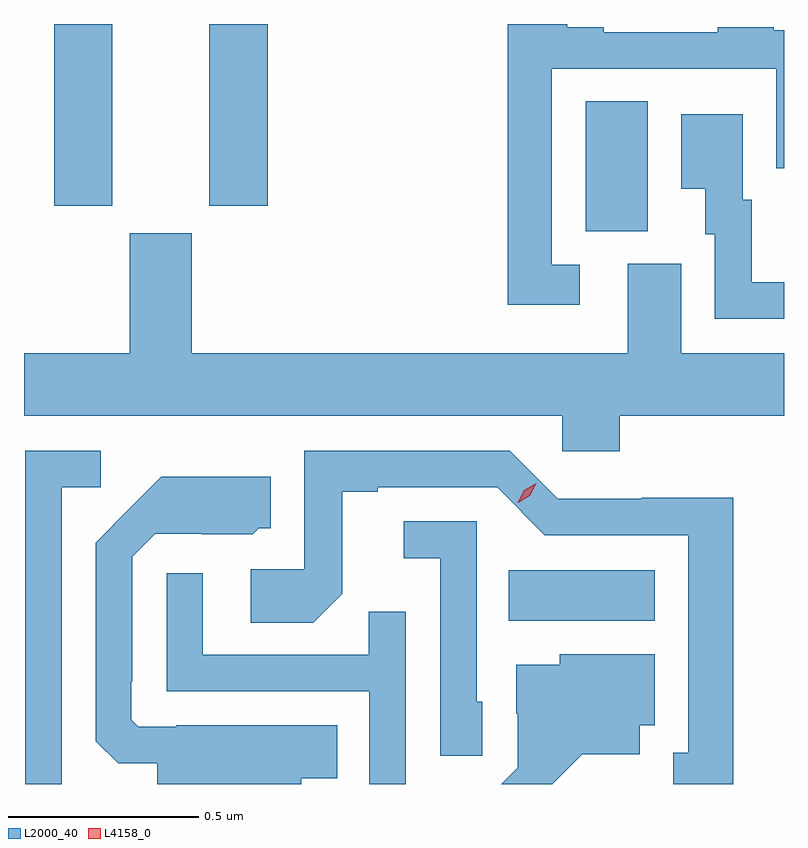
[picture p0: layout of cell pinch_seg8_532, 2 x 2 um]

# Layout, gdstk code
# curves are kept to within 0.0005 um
import gdstk
lib = gdstk.Library(unit=1e-6, precision=1e-09)
def R(c, l, rs):  # rectangles x0, y0, x1, y1
    for r in rs: c.add(gdstk.rectangle(r[:2], r[2:], *l))
def P(c, l, *ps):  # polygons
    for p in ps: c.add(gdstk.Polygon(p, *l))
L2000_40 = (2000, 40)
L4158_0 = (4158, 0)

pinch_seg8_532 = lib.new_cell('pinch_seg8_532')
R(pinch_seg8_532, L2000_40, [(154.906,1111.964,155.29,1112.098), (155.108,1112.989,155.272,1113.332), (153.71,1113.057,153.862,1113.535), (154.118,1113.057,154.271,1113.535)])
P(pinch_seg8_532, L2000_40, [(155.092,1112.901),(155.019,1112.901),(155.019,1113.417),(155.61,1113.417),(155.61,1113.156),(155.63,1113.156),(155.63,1113.519),(155.603,1113.519),(155.603,1113.526),(155.455,1113.526),(155.455,1113.513),(155.155,1113.513),(155.155,1113.526),(155.059,1113.526),(155.059,1113.535),(154.903,1113.535),(154.903,1112.796),(155.092,1112.796)],
  [(155.63,1112.856),(155.545,1112.856),(155.545,1113.072),(155.521,1113.072),(155.521,1113.298),(155.36,1113.298),(155.36,1113.101),(155.423,1113.101),(155.423,1112.982),(155.448,1112.982),(155.448,1112.76),(155.63,1112.76)],
  [(155.198,1112.504),(155.63,1112.504),(155.63,1112.668),(155.359,1112.668),(155.359,1112.904),(155.219,1112.904),(155.219,1112.668),(154.072,1112.668),(154.072,1112.985),(153.908,1112.985),(153.908,1112.668),(153.63,1112.668),(153.63,1112.504),(155.046,1112.504),(155.046,1112.411),(155.198,1112.411)],
  [(153.729,1112.316),(153.832,1112.316),(153.832,1112.412),(153.633,1112.412),(153.633,1111.535),(153.729,1111.535)],
  [(155.497,1112.288),(155.256,1112.288),(155.256,1112.286),(155.034,1112.286),(154.908,1112.412),(154.368,1112.412),(154.368,1112.1),(154.227,1112.1),(154.227,1111.96),(154.391,1111.96),(154.467,1112.036),(154.467,1112.304),(154.561,1112.304),(154.561,1112.316),(154.875,1112.316),(155.001,1112.19),(155.378,1112.19),(155.378,1111.617),(155.339,1111.617),(155.339,1111.535),(155.497,1111.535)],
  [(154.36,1111.55),(154.454,1111.55),(154.454,1111.69),(154.03,1111.69),(154.03,1111.686),(153.93,1111.686),(153.912,1111.704),(153.912,1111.804),(153.915,1111.804),(153.915,1112.133),(153.975,1112.193),(154.098,1112.193),(154.098,1112.192),(154.232,1112.192),(154.248,1112.208),(154.279,1112.208),(154.279,1112.344),(153.991,1112.344),(153.819,1112.17),(153.819,1111.648),(153.878,1111.589),(153.98,1111.589),(153.98,1111.535),(154.36,1111.535)],
  [(154.836,1111.752),(154.821,1111.752),(154.821,1112.226),(154.629,1112.226),(154.629,1112.129),(154.725,1112.129),(154.725,1111.609),(154.836,1111.609)],
  [(154.635,1111.988),(154.537,1111.988),(154.537,1111.875),(154.101,1111.875),(154.101,1112.089),(154.005,1112.089),(154.005,1111.779),(154.539,1111.779),(154.539,1111.535),(154.635,1111.535)],
  [(155.099,1111.613),(155.251,1111.613),(155.251,1111.689),(155.29,1111.689),(155.29,1111.876),(155.04,1111.876),(155.04,1111.849),(154.925,1111.849),(154.925,1111.72),(154.929,1111.72),(154.929,1111.578),(154.886,1111.535),(155.02,1111.535)])
P(pinch_seg8_532, L4158_0, [(154.929,1112.275),(154.929,1112.275),(154.946,1112.308),(154.978,1112.327),(154.978,1112.327),(154.978,1112.327),(154.961,1112.294),(154.93,1112.275)])

lib.write_gds('pinch_seg8_532.gds')
